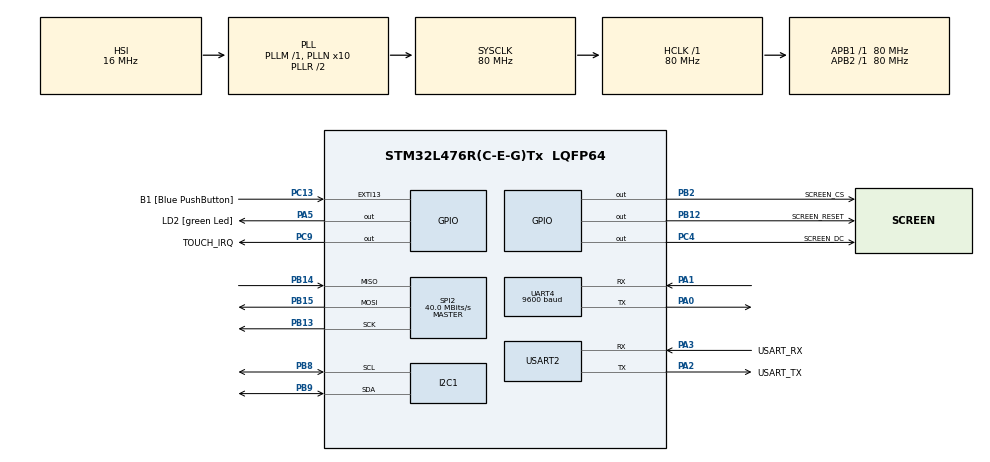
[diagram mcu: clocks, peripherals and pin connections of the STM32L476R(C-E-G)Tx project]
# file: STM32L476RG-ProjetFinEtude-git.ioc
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Dma.Request0=SPI2_TX
Dma.SPI2_TX.0.Direction=DMA_MEMORY_TO_PERIPH
Dma.SPI2_TX.0.Instance=DMA1_Channel5
Dma.SPI2_TX.0.MemDataAlignment=DMA_MDATAALIGN_HALFWORD
Dma.SPI2_TX.0.MemInc=DMA_MINC_ENABLE
Dma.SPI2_TX.0.Mode=DMA_NORMAL
Dma.SPI2_TX.0.PeriphDataAlignment=DMA_PDATAALIGN_HALFWORD
Dma.SPI2_TX.0.PeriphInc=DMA_PINC_DISABLE
Dma.SPI2_TX.0.Priority=DMA_PRIORITY_HIGH
I2C1.Timing=0x10D19CE4
Mcu.Family=STM32L4
Mcu.Name=STM32L476R(C-E-G)Tx
Mcu.Package=LQFP64
NVIC.DMA1_Channel5_IRQn=true\:0\:0\:false\:false\:true\:false\:true\:true
NVIC.PriorityGroup=NVIC_PRIORITYGROUP_4
PA0.Mode=Asynchronous
PA0.Signal=UART4_TX
PA1.Mode=Asynchronous
PA1.Signal=UART4_RX
PA13\ (JTMS-SWDIO).GPIO_Label=TMS
PA13\ (JTMS-SWDIO).Mode=Serial_Wire
PA13\ (JTMS-SWDIO).Signal=SYS_JTMS-SWDIO
PA14\ (JTCK-SWCLK).GPIO_Label=TCK
PA14\ (JTCK-SWCLK).Mode=Serial_Wire
PA14\ (JTCK-SWCLK).Signal=SYS_JTCK-SWCLK
PA2.GPIO_Label=USART_TX
PA2.GPIO_Mode=GPIO_MODE_AF_PP
PA2.GPIO_PuPd=GPIO_NOPULL
PA2.GPIO_Speed=GPIO_SPEED_FREQ_VERY_HIGH
PA2.Mode=Asynchronous
PA2.Signal=USART2_TX
PA3.GPIO_Label=USART_RX
PA3.GPIO_Mode=GPIO_MODE_AF_PP
PA3.GPIO_PuPd=GPIO_NOPULL
PA3.GPIO_Speed=GPIO_SPEED_FREQ_VERY_HIGH
PA3.Mode=Asynchronous
PA3.Signal=USART2_RX
PA5.GPIO_Label=LD2 [green Led]
PA5.GPIO_ModeDefaultOutputPP=GPIO_MODE_OUTPUT_PP
PA5.GPIO_PuPd=GPIO_NOPULL
PA5.GPIO_Speed=GPIO_SPEED_FREQ_LOW
PA5.Signal=GPIO_Output
PB12.GPIO_Label=SCREEN_RESET
PB12.GPIO_Speed=GPIO_SPEED_FREQ_VERY_HIGH
PB12.Signal=GPIO_Output
PB13.Mode=Full_Duplex_Master
PB13.Signal=SPI2_SCK
PB14.Mode=Full_Duplex_Master
PB14.Signal=SPI2_MISO
PB15.Mode=Full_Duplex_Master
PB15.Signal=SPI2_MOSI
PB2.GPIO_Label=SCREEN_CS
PB2.GPIO_Speed=GPIO_SPEED_FREQ_VERY_HIGH
PB2.Signal=GPIO_Output
PB3\ (JTDO-TRACESWO).GPIO_Label=SWO
PB3\ (JTDO-TRACESWO).Signal=SYS_JTDO-SWO
PB8.Mode=I2C
PB8.Signal=I2C1_SCL
PB9.Mode=I2C
PB9.Signal=I2C1_SDA
PC13.GPIO_Label=B1 [Blue PushButton]
PC13.GPIO_ModeDefaultEXTI=GPIO_MODE_IT_FALLING
PC13.GPIO_PuPd=GPIO_NOPULL
PC13.Signal=GPXTI13
PC14-OSC32_IN\ (PC14).Mode=LSE-External-Oscillator
PC14-OSC32_IN\ (PC14).Signal=RCC_OSC32_IN
PC15-OSC32_OUT\ (PC15).Mode=LSE-External-Oscillator
PC15-OSC32_OUT\ (PC15).Signal=RCC_OSC32_OUT
PC4.GPIO_Label=SCREEN_DC
PC4.GPIO_Speed=GPIO_SPEED_FREQ_VERY_HIGH
PC4.Signal=GPIO_Output
PC9.GPIO_Label=TOUCH_IRQ
PC9.Signal=GPIO_Output
PH0-OSC_IN\ (PH0).Signal=RCC_OSC_IN
PH1-OSC_OUT\ (PH1).Signal=RCC_OSC_OUT
ProjectManager.HeapSize=0x200
ProjectManager.StackSize=0x400
ProjectManager.TargetToolchain=STM32CubeIDE
RCC.ADCFreq_Value=64000000
RCC.AHBFreq_Value=80000000
RCC.APB1Freq_Value=80000000
RCC.APB1TimFreq_Value=80000000
RCC.APB2Freq_Value=80000000
RCC.APB2TimFreq_Value=80000000
RCC.CortexFreq_Value=80000000
RCC.HCLKFreq_Value=80000000
RCC.HSE_VALUE=8000000
RCC.HSI_VALUE=16000000
RCC.MSI_VALUE=4000000
RCC.PLLN=10
RCC.PLLSourceVirtual=RCC_PLLSOURCE_HSI
RCC.PREFETCH_ENABLE=1
RCC.SYSCLKFreq_VALUE=80000000
RCC.SYSCLKSource=RCC_SYSCLKSOURCE_PLLCLK
RCC.USBFreq_Value=64000000
RCC.VCOOutputFreq_Value=160000000
SPI2.BaudRatePrescaler=SPI_BAUDRATEPRESCALER_2
SPI2.CalculateBaudRate=40.0 MBits/s
SPI2.DataSize=SPI_DATASIZE_8BIT
SPI2.Direction=SPI_DIRECTION_2LINES
SPI2.Mode=SPI_MODE_MASTER
SPI2.VirtualType=VM_MASTER
UART4.BaudRate=9600
USART2.VirtualMode-Asynchronous=VM_ASYNC
board=NUCLEO-L476RG

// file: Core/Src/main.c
/* USER CODE BEGIN Header */
/**
  ******************************************************************************
  * @file           : main.c
  * @brief          : Main program body
  ******************************************************************************
  * @attention
  *
  * Copyright (c) 2026 STMicroelectronics.
  * All rights reserved.
  *
  * This software is licensed under terms that can be found in the LICENSE file
  * in the root directory of this software component.
  * If no LICENSE file comes with this software, it is provided AS-IS.
  *
  ******************************************************************************
  */
/* USER CODE END Header */
#include "main.h"

/* USER CODE BEGIN Includes */
#include <string.h>
#include "vcp_lib.h"
#include "ILI9341_driver.h"
#include "touch_drv.h"
#include "lv_port_disp.h"
#include "lv_port_indev.h"

//#include "lvgl/examples/anim/lv_example_anim.h"
//#include "lvgl/examples/lv_examples.h"
//#include "lvgl/demos/lv_demos.h"

/* USER CODE END Includes */

I2C_HandleTypeDef hi2c1;

SPI_HandleTypeDef hspi2;
DMA_HandleTypeDef hdma_spi2_tx;

UART_HandleTypeDef huart4;
UART_HandleTypeDef huart2;

/* USER CODE BEGIN PV */

void HAL_SPI_TxCpltCallback(SPI_HandleTypeDef *hspi)
{
  if(hspi->Instance == SPI2)
  {
    HAL_GPIO_WritePin(SCREEN_CS_GPIO_Port, SCREEN_CS_Pin, GPIO_PIN_SET);

    disp_flush_terminated();
  }
}

/* USER CODE END PV */

void SystemClock_Config(void);
static void MX_GPIO_Init(void);
static void MX_DMA_Init(void);
static void MX_USART2_UART_Init(void);
static void MX_I2C1_Init(void);
static void MX_SPI2_Init(void);
static void MX_UART4_Init(void);

int main(void)
{

  /* MCU Configuration--------------------------------------------------------*/

  /* Reset of all peripherals, Initializes the Flash interface and the Systick. */
  HAL_Init();

  /* Configure the system clock */
  SystemClock_Config();

  /* Initialize all configured peripherals */
  MX_GPIO_Init();
  MX_DMA_Init();
  MX_USART2_UART_Init();
  MX_I2C1_Init();
  MX_SPI2_Init();
  MX_UART4_Init();
  /* USER CODE BEGIN 2 */
  vcp_init(&huart2);
  vcp_printf("Mon Projet Final %s %s \r\n", __TIME__, __DATE__);

  if (touchInit(&hi2c1) != true)
  {
    vcp_puts("Unable to start touchscreen. \r\n");
  }

  ILI9341_Init(&hspi2);
  ILI9341_SetRotation(ILI9341_RIBBON_LEFT);
  ILI9341_fillScreen(BLACK);

  lv_init();
  lv_port_disp_init();
  lv_port_indev_init();

  lv_example_slider_bind_value();

  /* USER CODE END 2 */

  /* Infinite loop */
  /* USER CODE BEGIN WHILE */
  while (1)
  {
    lv_timer_handler();
    HAL_Delay(5);
    /* USER CODE END WHILE */

  }
}

void SystemClock_Config(void)
{
  RCC_OscInitTypeDef RCC_OscInitStruct = {0};
  RCC_ClkInitTypeDef RCC_ClkInitStruct = {0};

  /** Configure the main internal regulator output voltage
  */
  if (HAL_PWREx_ControlVoltageScaling(PWR_REGULATOR_VOLTAGE_SCALE1) != HAL_OK)
  {
    Error_Handler();
  }

  /** Initializes the RCC Oscillators according to the specified parameters
  * in the RCC_OscInitTypeDef structure.
  */
  RCC_OscInitStruct.OscillatorType = RCC_OSCILLATORTYPE_HSI;
  RCC_OscInitStruct.HSIState = RCC_HSI_ON;
  RCC_OscInitStruct.HSICalibrationValue = RCC_HSICALIBRATION_DEFAULT;
  RCC_OscInitStruct.PLL.PLLState = RCC_PLL_ON;
  RCC_OscInitStruct.PLL.PLLSource = RCC_PLLSOURCE_HSI;
  RCC_OscInitStruct.PLL.PLLM = 1;
  RCC_OscInitStruct.PLL.PLLN = 10;
  RCC_OscInitStruct.PLL.PLLP = RCC_PLLP_DIV7;
  RCC_OscInitStruct.PLL.PLLQ = RCC_PLLQ_DIV2;
  RCC_OscInitStruct.PLL.PLLR = RCC_PLLR_DIV2;
  if (HAL_RCC_OscConfig(&RCC_OscInitStruct) != HAL_OK)
  {
    Error_Handler();
  }

  /** Initializes the CPU, AHB and APB buses clocks
  */
  RCC_ClkInitStruct.ClockType = RCC_CLOCKTYPE_HCLK|RCC_CLOCKTYPE_SYSCLK
                              |RCC_CLOCKTYPE_PCLK1|RCC_CLOCKTYPE_PCLK2;
  RCC_ClkInitStruct.SYSCLKSource = RCC_SYSCLKSOURCE_PLLCLK;
  RCC_ClkInitStruct.AHBCLKDivider = RCC_SYSCLK_DIV1;
  RCC_ClkInitStruct.APB1CLKDivider = RCC_HCLK_DIV1;
  RCC_ClkInitStruct.APB2CLKDivider = RCC_HCLK_DIV1;

  if (HAL_RCC_ClockConfig(&RCC_ClkInitStruct, FLASH_LATENCY_4) != HAL_OK)
  {
    Error_Handler();
  }
}

static void MX_I2C1_Init(void)
{

  hi2c1.Instance = I2C1;
  hi2c1.Init.Timing = 0x10D19CE4;
  hi2c1.Init.OwnAddress1 = 0;
  hi2c1.Init.AddressingMode = I2C_ADDRESSINGMODE_7BIT;
  hi2c1.Init.DualAddressMode = I2C_DUALADDRESS_DISABLE;
  hi2c1.Init.OwnAddress2 = 0;
  hi2c1.Init.OwnAddress2Masks = I2C_OA2_NOMASK;
  hi2c1.Init.GeneralCallMode = I2C_GENERALCALL_DISABLE;
  hi2c1.Init.NoStretchMode = I2C_NOSTRETCH_DISABLE;
  if (HAL_I2C_Init(&hi2c1) != HAL_OK)
  {
    Error_Handler();
  }

  /** Configure Analogue filter
  */
  if (HAL_I2CEx_ConfigAnalogFilter(&hi2c1, I2C_ANALOGFILTER_ENABLE) != HAL_OK)
  {
    Error_Handler();
  }

  /** Configure Digital filter
  */
  if (HAL_I2CEx_ConfigDigitalFilter(&hi2c1, 0) != HAL_OK)
  {
    Error_Handler();
  }

}

static void MX_SPI2_Init(void)
{

  /* SPI2 parameter configuration*/
  hspi2.Instance = SPI2;
  hspi2.Init.Mode = SPI_MODE_MASTER;
  hspi2.Init.Direction = SPI_DIRECTION_2LINES;
  hspi2.Init.DataSize = SPI_DATASIZE_8BIT;
  hspi2.Init.CLKPolarity = SPI_POLARITY_LOW;
  hspi2.Init.CLKPhase = SPI_PHASE_1EDGE;
  hspi2.Init.NSS = SPI_NSS_SOFT;
  hspi2.Init.BaudRatePrescaler = SPI_BAUDRATEPRESCALER_2;
  hspi2.Init.FirstBit = SPI_FIRSTBIT_MSB;
  hspi2.Init.TIMode = SPI_TIMODE_DISABLE;
  hspi2.Init.CRCCalculation = SPI_CRCCALCULATION_DISABLE;
  hspi2.Init.CRCPolynomial = 7;
  hspi2.Init.CRCLength = SPI_CRC_LENGTH_DATASIZE;
  hspi2.Init.NSSPMode = SPI_NSS_PULSE_ENABLE;
  if (HAL_SPI_Init(&hspi2) != HAL_OK)
  {
    Error_Handler();
  }

}

static void MX_UART4_Init(void)
{

  huart4.Instance = UART4;
  huart4.Init.BaudRate = 9600;
  huart4.Init.WordLength = UART_WORDLENGTH_8B;
  huart4.Init.StopBits = UART_STOPBITS_1;
  huart4.Init.Parity = UART_PARITY_NONE;
  huart4.Init.Mode = UART_MODE_TX_RX;
  huart4.Init.HwFlowCtl = UART_HWCONTROL_NONE;
  huart4.Init.OverSampling = UART_OVERSAMPLING_16;
  huart4.Init.OneBitSampling = UART_ONE_BIT_SAMPLE_DISABLE;
  huart4.AdvancedInit.AdvFeatureInit = UART_ADVFEATURE_NO_INIT;
  if (HAL_UART_Init(&huart4) != HAL_OK)
  {
    Error_Handler();
  }

}

static void MX_USART2_UART_Init(void)
{

  huart2.Instance = USART2;
  huart2.Init.BaudRate = 115200;
  huart2.Init.WordLength = UART_WORDLENGTH_8B;
  huart2.Init.StopBits = UART_STOPBITS_1;
  huart2.Init.Parity = UART_PARITY_NONE;
  huart2.Init.Mode = UART_MODE_TX_RX;
  huart2.Init.HwFlowCtl = UART_HWCONTROL_NONE;
  huart2.Init.OverSampling = UART_OVERSAMPLING_16;
  huart2.Init.OneBitSampling = UART_ONE_BIT_SAMPLE_DISABLE;
  huart2.AdvancedInit.AdvFeatureInit = UART_ADVFEATURE_NO_INIT;
  if (HAL_UART_Init(&huart2) != HAL_OK)
  {
    Error_Handler();
  }

}

static void MX_DMA_Init(void)
{

  /* DMA controller clock enable */
  __HAL_RCC_DMA1_CLK_ENABLE();

  /* DMA interrupt init */
  /* DMA1_Channel5_IRQn interrupt configuration */
  HAL_NVIC_SetPriority(DMA1_Channel5_IRQn, 0, 0);
  HAL_NVIC_EnableIRQ(DMA1_Channel5_IRQn);

}

static void MX_GPIO_Init(void)
{
  GPIO_InitTypeDef GPIO_InitStruct = {0};

  /* GPIO Ports Clock Enable */
  __HAL_RCC_GPIOC_CLK_ENABLE();
  __HAL_RCC_GPIOH_CLK_ENABLE();
  __HAL_RCC_GPIOA_CLK_ENABLE();
  __HAL_RCC_GPIOB_CLK_ENABLE();

  /*Configure GPIO pin Output Level */
  HAL_GPIO_WritePin(LD2_GPIO_Port, LD2_Pin, GPIO_PIN_RESET);

  /*Configure GPIO pin Output Level */
  HAL_GPIO_WritePin(GPIOC, SCREEN_DC_Pin|TOUCH_IRQ_Pin, GPIO_PIN_RESET);

  /*Configure GPIO pin Output Level */
  HAL_GPIO_WritePin(GPIOB, SCREEN_CS_Pin|SCREEN_RESET_Pin, GPIO_PIN_RESET);

  /*Configure GPIO pin : B1_Pin */
  GPIO_InitStruct.Pin = B1_Pin;
  GPIO_InitStruct.Mode = GPIO_MODE_IT_FALLING;
  GPIO_InitStruct.Pull = GPIO_NOPULL;
  HAL_GPIO_Init(B1_GPIO_Port, &GPIO_InitStruct);

  /*Configure GPIO pin : LD2_Pin */
  GPIO_InitStruct.Pin = LD2_Pin;
  GPIO_InitStruct.Mode = GPIO_MODE_OUTPUT_PP;
  GPIO_InitStruct.Pull = GPIO_NOPULL;
  GPIO_InitStruct.Speed = GPIO_SPEED_FREQ_LOW;
  HAL_GPIO_Init(LD2_GPIO_Port, &GPIO_InitStruct);

  /*Configure GPIO pin : SCREEN_DC_Pin */
  GPIO_InitStruct.Pin = SCREEN_DC_Pin;
  GPIO_InitStruct.Mode = GPIO_MODE_OUTPUT_PP;
  GPIO_InitStruct.Pull = GPIO_NOPULL;
  GPIO_InitStruct.Speed = GPIO_SPEED_FREQ_VERY_HIGH;
  HAL_GPIO_Init(SCREEN_DC_GPIO_Port, &GPIO_InitStruct);

  /*Configure GPIO pins : SCREEN_CS_Pin SCREEN_RESET_Pin */
  GPIO_InitStruct.Pin = SCREEN_CS_Pin|SCREEN_RESET_Pin;
  GPIO_InitStruct.Mode = GPIO_MODE_OUTPUT_PP;
  GPIO_InitStruct.Pull = GPIO_NOPULL;
  GPIO_InitStruct.Speed = GPIO_SPEED_FREQ_VERY_HIGH;
  HAL_GPIO_Init(GPIOB, &GPIO_InitStruct);

  /*Configure GPIO pin : TOUCH_IRQ_Pin */
  GPIO_InitStruct.Pin = TOUCH_IRQ_Pin;
  GPIO_InitStruct.Mode = GPIO_MODE_OUTPUT_PP;
  GPIO_InitStruct.Pull = GPIO_NOPULL;
  GPIO_InitStruct.Speed = GPIO_SPEED_FREQ_LOW;
  HAL_GPIO_Init(TOUCH_IRQ_GPIO_Port, &GPIO_InitStruct);

}

void Error_Handler(void)
{
  __disable_irq();
  while (1)
  {
  }
}
